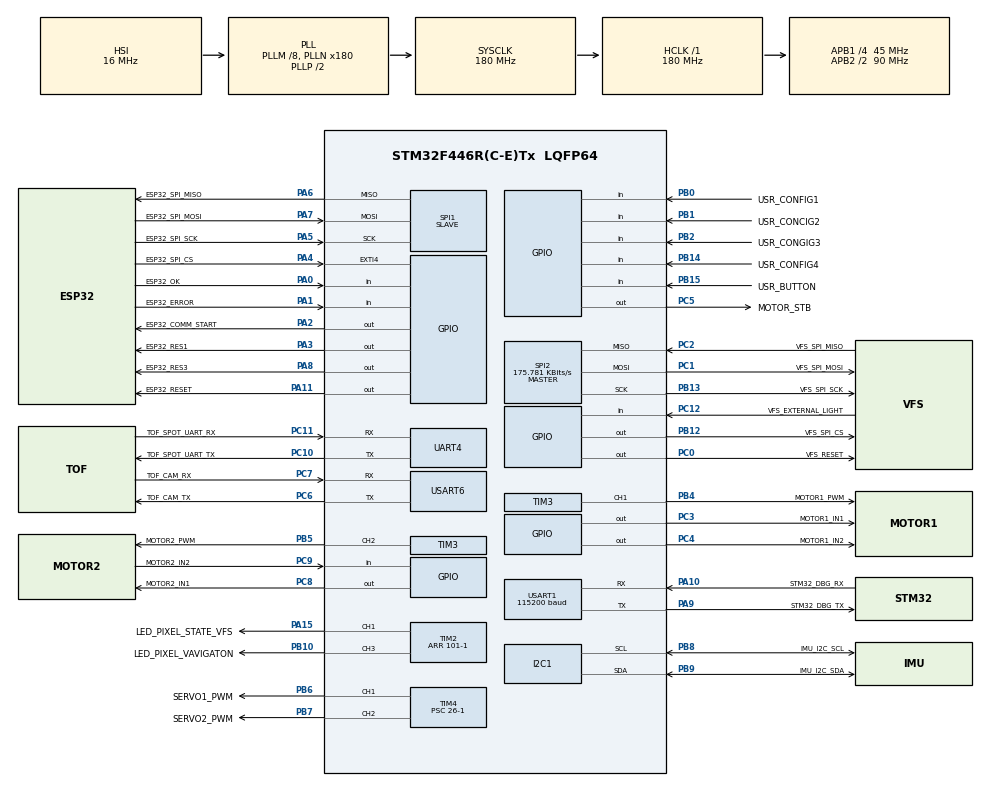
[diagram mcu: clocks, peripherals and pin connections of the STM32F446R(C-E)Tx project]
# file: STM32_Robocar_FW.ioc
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Dma.Request0=SPI1_RX
Dma.Request1=SPI1_TX
Dma.Request2=TIM2_CH1
Dma.Request3=TIM2_UP/CH3
Dma.SPI1_RX.0.Direction=DMA_PERIPH_TO_MEMORY
Dma.SPI1_RX.0.FIFOMode=DMA_FIFOMODE_DISABLE
Dma.SPI1_RX.0.Instance=DMA2_Stream0
Dma.SPI1_RX.0.MemDataAlignment=DMA_MDATAALIGN_BYTE
Dma.SPI1_RX.0.MemInc=DMA_MINC_ENABLE
Dma.SPI1_RX.0.Mode=DMA_CIRCULAR
Dma.SPI1_RX.0.PeriphDataAlignment=DMA_PDATAALIGN_BYTE
Dma.SPI1_RX.0.PeriphInc=DMA_PINC_DISABLE
Dma.SPI1_RX.0.Priority=DMA_PRIORITY_MEDIUM
Dma.SPI1_TX.1.Direction=DMA_MEMORY_TO_PERIPH
Dma.SPI1_TX.1.FIFOMode=DMA_FIFOMODE_DISABLE
Dma.SPI1_TX.1.Instance=DMA2_Stream5
Dma.SPI1_TX.1.MemDataAlignment=DMA_MDATAALIGN_BYTE
Dma.SPI1_TX.1.MemInc=DMA_MINC_ENABLE
Dma.SPI1_TX.1.Mode=DMA_NORMAL
Dma.SPI1_TX.1.PeriphDataAlignment=DMA_PDATAALIGN_BYTE
Dma.SPI1_TX.1.PeriphInc=DMA_PINC_DISABLE
Dma.SPI1_TX.1.Priority=DMA_PRIORITY_MEDIUM
Dma.TIM2_CH1.2.Direction=DMA_MEMORY_TO_PERIPH
Dma.TIM2_CH1.2.FIFOMode=DMA_FIFOMODE_DISABLE
Dma.TIM2_CH1.2.Instance=DMA1_Stream5
Dma.TIM2_CH1.2.MemDataAlignment=DMA_MDATAALIGN_WORD
Dma.TIM2_CH1.2.MemInc=DMA_MINC_ENABLE
Dma.TIM2_CH1.2.Mode=DMA_NORMAL
Dma.TIM2_CH1.2.PeriphDataAlignment=DMA_PDATAALIGN_WORD
Dma.TIM2_CH1.2.PeriphInc=DMA_PINC_DISABLE
Dma.TIM2_CH1.2.Priority=DMA_PRIORITY_LOW
Dma.TIM2_UP/CH3.3.Direction=DMA_MEMORY_TO_PERIPH
Dma.TIM2_UP/CH3.3.FIFOMode=DMA_FIFOMODE_DISABLE
Dma.TIM2_UP/CH3.3.Instance=DMA1_Stream1
Dma.TIM2_UP/CH3.3.MemDataAlignment=DMA_MDATAALIGN_WORD
Dma.TIM2_UP/CH3.3.MemInc=DMA_MINC_ENABLE
Dma.TIM2_UP/CH3.3.Mode=DMA_NORMAL
Dma.TIM2_UP/CH3.3.PeriphDataAlignment=DMA_PDATAALIGN_WORD
Dma.TIM2_UP/CH3.3.PeriphInc=DMA_PINC_DISABLE
Dma.TIM2_UP/CH3.3.Priority=DMA_PRIORITY_LOW
I2C1.I2C_Mode=I2C_Fast
Mcu.Family=STM32F4
Mcu.Name=STM32F446R(C-E)Tx
Mcu.Package=LQFP64
NVIC.DMA1_Stream1_IRQn=true\:0\:0\:false\:false\:true\:false\:true\:true
NVIC.DMA1_Stream5_IRQn=true\:0\:0\:false\:false\:true\:false\:true\:true
NVIC.DMA2_Stream0_IRQn=true\:0\:0\:false\:false\:true\:false\:true\:true
NVIC.DMA2_Stream5_IRQn=true\:0\:0\:false\:false\:true\:false\:true\:true
NVIC.EXTI4_IRQn=true\:0\:0\:false\:false\:true\:true\:true\:false
NVIC.PriorityGroup=NVIC_PRIORITYGROUP_4
NVIC.SPI1_IRQn=true\:0\:0\:false\:false\:true\:true\:true\:true
PA0-WKUP.GPIO_Label=ESP32_OK
PA0-WKUP.GPIO_PuPd=GPIO_PULLDOWN
PA0-WKUP.Signal=GPIO_Input
PA1.GPIO_Label=ESP32_ERROR
PA1.GPIO_PuPd=GPIO_PULLDOWN
PA1.Signal=GPIO_Input
PA10.GPIO_Label=STM32_DBG_RX
PA10.Mode=Asynchronous
PA10.Signal=USART1_RX
PA11.GPIO_Label=ESP32_RESET
PA11.GPIO_ModeDefaultOutputPP=GPIO_MODE_OUTPUT_OD
PA11.GPIO_PuPd=GPIO_PULLUP
PA11.Signal=GPIO_Output
PA13.GPIO_Label=STM32_DBG_SWDIO
PA13.Mode=Serial_Wire
PA13.Signal=SYS_JTMS-SWDIO
PA14.GPIO_Label=STM32_DBG_SWCLK
PA14.Mode=Serial_Wire
PA14.Signal=SYS_JTCK-SWCLK
PA15.GPIO_Label=LED_PIXEL_STATE_VFS
PA15.GPIO_Speed=GPIO_SPEED_FREQ_VERY_HIGH
PA15.Signal=S_TIM2_CH1_ETR
PA2.GPIO_Label=ESP32_COMM_START
PA2.GPIO_PuPd=GPIO_PULLDOWN
PA2.Signal=GPIO_Output
PA3.GPIO_Label=ESP32_RES1
PA3.GPIO_PuPd=GPIO_PULLDOWN
PA3.Signal=GPIO_Output
PA4.GPIO_Label=ESP32_SPI_CS
PA4.GPIO_ModeDefaultEXTI=GPIO_MODE_IT_RISING
PA4.GPIO_PuPd=GPIO_PULLUP
PA4.Signal=GPXTI4
PA5.GPIO_Label=ESP32_SPI_SCK
PA5.Mode=Full_Duplex_Slave
PA5.Signal=SPI1_SCK
PA6.GPIO_Label=ESP32_SPI_MISO
PA6.Mode=Full_Duplex_Slave
PA6.Signal=SPI1_MISO
PA7.GPIO_Label=ESP32_SPI_MOSI
PA7.Mode=Full_Duplex_Slave
PA7.Signal=SPI1_MOSI
PA8.GPIO_Label=ESP32_RES3
PA8.Signal=GPIO_Output
PA9.GPIO_Label=STM32_DBG_TX
PA9.Mode=Asynchronous
PA9.Signal=USART1_TX
PB0.GPIO_Label=USR_CONFIG1
PB0.Signal=GPIO_Input
PB1.GPIO_Label=USR_CONCIG2
PB1.Signal=GPIO_Input
PB10.GPIO_Label=LED_PIXEL_VAVIGATON
PB10.GPIO_Speed=GPIO_SPEED_FREQ_VERY_HIGH
PB10.Signal=S_TIM2_CH3
PB12.GPIO_Label=VFS_SPI_CS
PB12.GPIO_ModeDefaultOutputPP=GPIO_MODE_OUTPUT_OD
PB12.GPIO_PuPd=GPIO_PULLUP
PB12.GPIO_Speed=GPIO_SPEED_FREQ_VERY_HIGH
PB12.PinState=GPIO_PIN_SET
PB12.Signal=GPIO_Output
PB13.GPIO_Label=VFS_SPI_SCK
PB13.Mode=Full_Duplex_Master
PB13.Signal=SPI2_SCK
PB14.GPIO_Label=USR_CONFIG4
PB14.GPIO_PuPd=GPIO_PULLUP
PB14.Signal=GPIO_Input
PB15.GPIO_Label=USR_BUTTON
PB15.GPIO_PuPd=GPIO_PULLUP
PB15.Signal=GPIO_Input
PB2.GPIO_Label=USR_CONGIG3
PB2.Signal=GPIO_Input
PB4.GPIO_Label=MOTOR1_PWM
PB4.GPIO_Speed=GPIO_SPEED_FREQ_VERY_HIGH
PB4.Signal=S_TIM3_CH1
PB5.GPIO_Label=MOTOR2_PWM
PB5.Signal=S_TIM3_CH2
PB6.GPIO_Label=SERVO1_PWM
PB6.GPIO_Speed=GPIO_SPEED_FREQ_VERY_HIGH
PB6.Signal=S_TIM4_CH1
PB7.GPIO_Label=SERVO2_PWM
PB7.GPIO_Speed=GPIO_SPEED_FREQ_VERY_HIGH
PB7.Signal=S_TIM4_CH2
PB8.GPIO_Label=IMU_I2C_SCL
PB8.Mode=I2C
PB8.Signal=I2C1_SCL
PB9.GPIO_Label=IMU_I2C_SDA
PB9.Mode=I2C
PB9.Signal=I2C1_SDA
PC0.GPIO_Label=VFS_RESET
PC0.GPIO_ModeDefaultOutputPP=GPIO_MODE_OUTPUT_OD
PC0.GPIO_PuPd=GPIO_PULLUP
PC0.GPIO_Speed=GPIO_SPEED_FREQ_LOW
PC0.PinState=GPIO_PIN_SET
PC0.Signal=GPIO_Output
PC1.GPIO_Label=VFS_SPI_MOSI
PC1.Mode=Full_Duplex_Master
PC1.Signal=SPI2_MOSI
PC10.GPIO_Label=TOF_SPOT_UART_TX
PC10.Mode=Asynchronous
PC10.Signal=UART4_TX
PC11.GPIO_Label=TOF_SPOT_UART_RX
PC11.Mode=Asynchronous
PC11.Signal=UART4_RX
PC12.GPIO_Label=VFS_EXTERNAL_LIGHT
PC12.Signal=GPIO_Input
PC2.GPIO_Label=VFS_SPI_MISO
PC2.Mode=Full_Duplex_Master
PC2.Signal=SPI2_MISO
PC3.GPIO_Label=MOTOR1_IN1
PC3.Signal=GPIO_Output
PC4.GPIO_Label=MOTOR1_IN2
PC4.Signal=GPIO_Output
PC5.GPIO_Label=MOTOR_STB
PC5.GPIO_Speed=GPIO_SPEED_FREQ_HIGH
PC5.Signal=GPIO_Output
PC6.GPIO_Label=TOF_CAM_TX
PC6.Mode=Asynchronous
PC6.Signal=USART6_TX
PC7.GPIO_Label=TOF_CAM_RX
PC7.Mode=Asynchronous
PC7.Signal=USART6_RX
PC8.GPIO_Label=MOTOR2_IN1
PC8.Signal=GPIO_Output
PC9.GPIO_Label=MOTOR2_IN2
PC9.Signal=GPIO_Input
ProjectManager.HeapSize=0x200
ProjectManager.StackSize=0x400
ProjectManager.TargetToolchain=STM32CubeIDE
RCC.AHBFreq_Value=180000000
RCC.APB1CLKDivider=RCC_HCLK_DIV4
RCC.APB1Freq_Value=45000000
RCC.APB1TimFreq_Value=90000000
RCC.APB2CLKDivider=RCC_HCLK_DIV2
RCC.APB2Freq_Value=90000000
RCC.APB2TimFreq_Value=180000000
RCC.CortexFreq_Value=180000000
RCC.HCLKFreq_Value=180000000
RCC.PLLM=8
RCC.PLLN=180
RCC.SYSCLKFreq_VALUE=180000000
RCC.SYSCLKSource=RCC_SYSCLKSOURCE_PLLCLK
RCC.USBFreq_Value=180000000
RCC.VCOOutputFreq_Value=360000000
SH.S_TIM2_CH1_ETR.0=TIM2_CH1,PWM Generation1 CH1
SH.S_TIM2_CH3.0=TIM2_CH3,PWM Generation3 CH3
SH.S_TIM3_CH1.0=TIM3_CH1,PWM Generation1 CH1
SH.S_TIM3_CH2.0=TIM3_CH2,PWM Generation2 CH2
SH.S_TIM4_CH1.0=TIM4_CH1,PWM Generation1 CH1
SH.S_TIM4_CH2.0=TIM4_CH2,PWM Generation2 CH2
SPI1.Direction=SPI_DIRECTION_2LINES
SPI1.Mode=SPI_MODE_SLAVE
SPI1.VirtualType=VM_SLAVE
SPI2.BaudRatePrescaler=SPI_BAUDRATEPRESCALER_256
SPI2.CLKPhase=SPI_PHASE_2EDGE
SPI2.CLKPolarity=SPI_POLARITY_HIGH
SPI2.CalculateBaudRate=175.781 KBits/s
SPI2.Direction=SPI_DIRECTION_2LINES
SPI2.Mode=SPI_MODE_MASTER
SPI2.VirtualType=VM_MASTER
TIM10.Prescaler=90-1
TIM11.Prescaler=90-1
TIM12.Prescaler=90-1
TIM2.Channel-PWM\ Generation1\ CH1=TIM_CHANNEL_1
TIM2.Channel-PWM\ Generation3\ CH3=TIM_CHANNEL_3
TIM2.Period=101-1
TIM3.Channel-PWM\ Generation1\ CH1=TIM_CHANNEL_1
TIM3.Channel-PWM\ Generation2\ CH2=TIM_CHANNEL_2
TIM3.Period=65535
TIM3.Prescaler=0
TIM4.Channel-PWM\ Generation1\ CH1=TIM_CHANNEL_1
TIM4.Channel-PWM\ Generation2\ CH2=TIM_CHANNEL_2
TIM4.Period=65000-1
TIM4.Prescaler=26-1
UART4.VirtualMode=Asynchronous
USART1.BaudRate=115200
USART1.Mode=MODE_TX
USART1.VirtualMode=VM_ASYNC
USART6.VirtualMode=VM_ASYNC
VP_TIM10_VS_ClockSourceINT.Mode=Enable_Timer
VP_TIM11_VS_ClockSourceINT.Mode=Enable_Timer
VP_TIM12_VS_ClockSourceINT.Mode=Internal
VP_TIM2_VS_ClockSourceINT.Mode=Internal
VP_TIM3_VS_ClockSourceINT.Mode=Internal
VP_TIM4_VS_ClockSourceINT.Mode=Internal
board=custom

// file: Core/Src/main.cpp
/* USER CODE BEGIN Header */
/**
  ******************************************************************************
  * @file           : main.c
  * @brief          : Main program body
  ******************************************************************************
  * @attention
  *
  * Copyright (c) 2023 STMicroelectronics.
  * All rights reserved.
  *
  * This software is licensed under terms that can be found in the LICENSE file
  * in the root directory of this software component.
  * If no LICENSE file comes with this software, it is provided AS-IS.
  *
  ******************************************************************************
  */
/* USER CODE END Header */
#include "main.h"

/* USER CODE BEGIN Includes */
#include <iostream>

#include "types/types.h"
#include "parameter_handler/parameter_handler.h"
#include "mpu60X0/mpu60X0.h"
#include "TFLC02/TFLC02.h"
#include "ADNS3080/ADNS3080.h"
#include "A010/A010.h"
#include "comms/comms.h"
#include "NeoPixel/NeoPixel.h"
#include "Servo/Servo.h"
#include "TB6612FNG/TB6612FNG.h"
#include "SpeedController/SpeedController.h"
#include "Odometry/Odometry.h"
/* USER CODE END Includes */

I2C_HandleTypeDef hi2c1;

SPI_HandleTypeDef hspi1;
SPI_HandleTypeDef hspi2;
DMA_HandleTypeDef hdma_spi1_rx;
DMA_HandleTypeDef hdma_spi1_tx;

TIM_HandleTypeDef htim2;
TIM_HandleTypeDef htim3;
TIM_HandleTypeDef htim4;
TIM_HandleTypeDef htim10;
TIM_HandleTypeDef htim11;
TIM_HandleTypeDef htim12;
DMA_HandleTypeDef hdma_tim2_ch1;
DMA_HandleTypeDef hdma_tim2_up_ch3;

UART_HandleTypeDef huart4;
UART_HandleTypeDef huart1;
UART_HandleTypeDef huart6;

/* USER CODE BEGIN PV */
robocar_data_t data;

ParameterHandler parameter_handler{data.parameter};
Odometry odometry{htim11, data.sensor, data.data, data.parameter};

TFLC02::TFLC02 tof_spot{huart4, data.state.tof_spot};
MPU60X0 imu{hi2c1, data.parameter.imu, data.state.imu, &data.data.imu};
ADNS3080 vfs{hspi2, data.parameter.vfs};
A010 tof_cam{huart6};

Comms::CommsSlave slave{&hspi1, &data};

NeoPixel::Controller npxc_state_vfs_light{{&htim2, TIM_CHANNEL_1}, NeoPixel::Controller::WS2812, 9};
NeoPixel::Group state_led{&npxc_state_vfs_light, 0, 1};
NeoPixel::Group vfs_light{&npxc_state_vfs_light, 1, 9};

Servo servo{htim4, TIM_CHANNEL_1, data.parameter.servo};
Servo servo_res{htim4, TIM_CHANNEL_2, data.parameter.servo};
TB6612FNG motor{MOTOR_STB_GPIO_Port, MOTOR_STB_Pin,
                MOTOR1_IN1_GPIO_Port, MOTOR1_IN1_Pin,
                MOTOR1_IN2_GPIO_Port, MOTOR1_IN2_Pin,
                MOTOR2_IN1_GPIO_Port, MOTOR2_IN1_Pin,
                MOTOR2_IN2_GPIO_Port, MOTOR2_IN2_Pin,
                &htim3, TIM_CHANNEL_1, &htim3, TIM_CHANNEL_2};
SpeedController speed_controller{htim12, motor, data.data};
/* USER CODE END PV */

void SystemClock_Config(void);
static void MX_GPIO_Init(void);
static void MX_DMA_Init(void);
static void MX_USART1_UART_Init(void);
static void MX_SPI1_Init(void);
static void MX_TIM2_Init(void);
static void MX_TIM3_Init(void);
static void MX_TIM4_Init(void);
static void MX_UART4_Init(void);
static void MX_I2C1_Init(void);
static void MX_SPI2_Init(void);
static void MX_USART6_UART_Init(void);
static void MX_TIM10_Init(void);
static void MX_TIM11_Init(void);
static void MX_TIM12_Init(void);

/* USER CODE BEGIN 0 */
extern "C" {
#ifdef __GNUC__
#define PUTCHAR_PROTOTYPE int __io_putchar(int ch)
#else
#define PUTCHAR_PROTOTYPE int fputc(int ch, FILE *f)
#endif
}
/* USER CODE END 0 */

int main(void)
{

  /* MCU Configuration--------------------------------------------------------*/

  /* Reset of all peripherals, Initializes the Flash interface and the Systick. */
  HAL_Init();

  /* Configure the system clock */
  SystemClock_Config();

  /* Initialize all configured peripherals */
  MX_GPIO_Init();
  MX_DMA_Init();
  MX_USART1_UART_Init();
  MX_SPI1_Init();
  MX_TIM2_Init();
  MX_TIM3_Init();
  MX_TIM4_Init();
  MX_UART4_Init();
  MX_I2C1_Init();
  MX_SPI2_Init();
  MX_USART6_UART_Init();
  MX_TIM10_Init();
  MX_TIM11_Init();
  MX_TIM12_Init();
  /* USER CODE BEGIN 2 */
  std::cout << "Device is initialising..." << std::endl;
  state_led.set_brightness(5);
  state_led.set_color(0, 0, 255);
  npxc_state_vfs_light.update();

#pragma region SOFTWARE INITIALISATION
  // TODO: This function should ony be called once to write te correct _parameter values into the flash storage
  parameter_handler.InitParameter();
  /*
  if (parameter_handler.SetParameter() != SUCCESS) {
    std::cout << "Could not initialise parameters on flash memory!" << std::endl;
    Error_Handler();
  } else {
    std::cout << "Initialised parameters on flash memory!" << std::endl;
  }

  if (parameter_handler.GetParameter() != SUCCESS) {
    std::cout << "Could not read parameter_handler from flash memory!" << std::endl;
    Error_Handler();
  }
  std::cout << "Successfully got all parameters from flash memory" << std::endl;
  */
#pragma region SOFTWARE INITIALISATION

#pragma region HARDWARE INITIALISATION
  HAL_TIM_Base_Start(&htim10);
  HAL_TIM_Base_Start(&htim11);
  HAL_TIM_Base_Start(&htim12);
  tof_spot.init();
  //tof_cam.init();
  if (vfs.init() != SUCCESS) Error_Handler();
  if (imu.init(3) != SUCCESS) Error_Handler();

  // Reset ESP32
  HAL_Delay(100);
  HAL_GPIO_WritePin(ESP32_RESET_GPIO_Port, ESP32_RESET_Pin, GPIO_PIN_SET);
  HAL_Delay(10);
  HAL_GPIO_WritePin(ESP32_RESET_GPIO_Port, ESP32_RESET_Pin, GPIO_PIN_RESET);
#pragma endregion HARDWARE INITIALISATION
  servo.move(0);

  state_led.set_color(0, 255, 0);

  vfs_light.set_brightness(data.parameter.vfs.light_color.alpha);
  vfs_light.set_color(data.parameter.vfs.light_color.red,
                      data.parameter.vfs.light_color.green,
                      data.parameter.vfs.light_color.blue);
  npxc_state_vfs_light.update();
  /* USER CODE END 2 */

  /* Infinite loop */
  /* USER CODE BEGIN WHILE */
  std::cout << "Entering main loop..." << std::endl;

  // Kick of the DMA to receive a request from the ESP32 slave
  HAL_SPI_Receive_DMA(&hspi1, slave.rx_packet_dma.buffer, sizeof(Comms::Comms::comms_packet_t));
  HAL_GPIO_WritePin(ESP32_COMM_START_GPIO_Port, ESP32_COMM_START_Pin, GPIO_PIN_SET);

#pragma clang diagnostic push
#pragma ide diagnostic ignored "EndlessLoop"
  while (true) {
    /* USER CODE END WHILE */

    /* USER CODE BEGIN 3 */
#pragma region REQUESTS
    // Check if new parameters need to be saved
    if (data.request.safe_parameter) {
      /*
      if (parameter_handler.SetParameter() != SUCCESS)
        std::cout << "Could not override the parameters on the flash memory!" << std::endl;
      else
        std::cout << "Successfully overwritten all parameters on the flash memory" << std::endl;
        */
      vfs_light.set_brightness(data.parameter.vfs.light_color.alpha);
      vfs_light.set_color(data.parameter.vfs.light_color.red,
                          data.parameter.vfs.light_color.green,
                          data.parameter.vfs.light_color.blue);
      npxc_state_vfs_light.update();
    }

    if (data.request.reset_odomety)
      odometry.reset();

    if (data.request.calibrate_imu)
      imu.CalibrateGyro();

#pragma endregion REQUESTS

#pragma region SENSOR READING
    imu.GetValues(data.sensor.imu);
    tof_spot.get_distance(data.sensor.tof_spot);
    vfs.motionBurst(&data.sensor.vfs);
    //tof_cam.get_frame(data.sensor.tof_cam);
#pragma endregion SENSOR READING

#pragma region DATA GENERATIOM
    odometry.update();
#pragma endregion DATA GENERATION

#pragma region ROBOCAR STATE
    switch (data.state.robocar) {
      case State::Robocar::INITIALISING:
        motor.enable();

        // Automatic state transition
        data.state.robocar = State::Robocar::RUNNING;
        break;

      case State::Robocar::RUNNING:
#pragma region STATEMACHINE OPERATINGMODE
        switch (data.request.operating_mode) {
          case Request::OperatingMode::MANUAL:
            servo.move(data.request.controls.steering);
            motor.ch_a.move(data.request.controls.throttle);
            //motor.ch_a.move(data.request.controls.throttle);
            break;

          case Request::OperatingMode::ASSISTED:
            if (data.data.position.y > 0)
              servo.move(500);
            else if (data.data.position.y < 0)
              servo.move(-500);
            else
              servo.move(0);

            motor.ch_a.move(data.request.controls.throttle);

            break;

          case Request::OperatingMode::DISTANCE:
            servo.move(data.request.controls.steering);
            if (data.data.distance_positioning_error <= data.parameter.operating_modes.distance.positioning_error_boundaries and
                data.data.distance_positioning_error >= -data.parameter.operating_modes.distance.positioning_error_boundaries)
              motor.ch_a.brake();
            else if (odometry.distance_to_target() > data.parameter.operating_modes.distance.threshold_fine_positioning)
              motor.ch_a.move(20);
            else
              if (data.data.distance_positioning_error > 0)
                motor.ch_a.move(10);
              else
                motor.ch_a.move(-10);
            break;

          case Request::OperatingMode::AUTONOMOUS:
            break;
        }
#pragma endregion STATEMACHINE OPERATINGMODE

        // State transition based on EMS signal
        if (data.request.emergency_stop)
          data.state.robocar = State::Robocar::EMS;
        break;

      case State::Robocar::EMS:
        motor.disable();

        // State transition based on EMS reset signal
        if (not data.request.emergency_stop)
          data.state.robocar = State::Robocar::INITIALISING;
        break;
    }
#pragma endregion ROBOCAR STATE

  //speed_controller.update();
  }
#pragma clang diagnostic pop
  /* USER CODE END 3 */
}

void SystemClock_Config(void)
{
  RCC_OscInitTypeDef RCC_OscInitStruct = {0};
  RCC_ClkInitTypeDef RCC_ClkInitStruct = {0};

  /** Configure the main internal regulator output voltage
  */
  __HAL_RCC_PWR_CLK_ENABLE();
  __HAL_PWR_VOLTAGESCALING_CONFIG(PWR_REGULATOR_VOLTAGE_SCALE1);

  /** Initializes the RCC Oscillators according to the specified parameters
  * in the RCC_OscInitTypeDef structure.
  */
  RCC_OscInitStruct.OscillatorType = RCC_OSCILLATORTYPE_HSI;
  RCC_OscInitStruct.HSIState = RCC_HSI_ON;
  RCC_OscInitStruct.HSICalibrationValue = RCC_HSICALIBRATION_DEFAULT;
  RCC_OscInitStruct.PLL.PLLState = RCC_PLL_ON;
  RCC_OscInitStruct.PLL.PLLSource = RCC_PLLSOURCE_HSI;
  RCC_OscInitStruct.PLL.PLLM = 8;
  RCC_OscInitStruct.PLL.PLLN = 180;
  RCC_OscInitStruct.PLL.PLLP = RCC_PLLP_DIV2;
  RCC_OscInitStruct.PLL.PLLQ = 2;
  RCC_OscInitStruct.PLL.PLLR = 2;
  if (HAL_RCC_OscConfig(&RCC_OscInitStruct) != HAL_OK)
  {
    Error_Handler();
  }

  /** Activate the Over-Drive mode
  */
  if (HAL_PWREx_EnableOverDrive() != HAL_OK)
  {
    Error_Handler();
  }

  /** Initializes the CPU, AHB and APB buses clocks
  */
  RCC_ClkInitStruct.ClockType = RCC_CLOCKTYPE_HCLK|RCC_CLOCKTYPE_SYSCLK
                              |RCC_CLOCKTYPE_PCLK1|RCC_CLOCKTYPE_PCLK2;
  RCC_ClkInitStruct.SYSCLKSource = RCC_SYSCLKSOURCE_PLLCLK;
  RCC_ClkInitStruct.AHBCLKDivider = RCC_SYSCLK_DIV1;
  RCC_ClkInitStruct.APB1CLKDivider = RCC_HCLK_DIV4;
  RCC_ClkInitStruct.APB2CLKDivider = RCC_HCLK_DIV2;

  if (HAL_RCC_ClockConfig(&RCC_ClkInitStruct, FLASH_LATENCY_5) != HAL_OK)
  {
    Error_Handler();
  }
}

static void MX_I2C1_Init(void)
{

  hi2c1.Instance = I2C1;
  hi2c1.Init.ClockSpeed = 400000;
  hi2c1.Init.DutyCycle = I2C_DUTYCYCLE_2;
  hi2c1.Init.OwnAddress1 = 0;
  hi2c1.Init.AddressingMode = I2C_ADDRESSINGMODE_7BIT;
  hi2c1.Init.DualAddressMode = I2C_DUALADDRESS_DISABLE;
  hi2c1.Init.OwnAddress2 = 0;
  hi2c1.Init.GeneralCallMode = I2C_GENERALCALL_DISABLE;
  hi2c1.Init.NoStretchMode = I2C_NOSTRETCH_DISABLE;
  if (HAL_I2C_Init(&hi2c1) != HAL_OK)
  {
    Error_Handler();
  }

}

static void MX_SPI1_Init(void)
{

  /* SPI1 parameter configuration*/
  hspi1.Instance = SPI1;
  hspi1.Init.Mode = SPI_MODE_SLAVE;
  hspi1.Init.Direction = SPI_DIRECTION_2LINES;
  hspi1.Init.DataSize = SPI_DATASIZE_8BIT;
  hspi1.Init.CLKPolarity = SPI_POLARITY_LOW;
  hspi1.Init.CLKPhase = SPI_PHASE_1EDGE;
  hspi1.Init.NSS = SPI_NSS_SOFT;
  hspi1.Init.FirstBit = SPI_FIRSTBIT_MSB;
  hspi1.Init.TIMode = SPI_TIMODE_DISABLE;
  hspi1.Init.CRCCalculation = SPI_CRCCALCULATION_DISABLE;
  hspi1.Init.CRCPolynomial = 10;
  if (HAL_SPI_Init(&hspi1) != HAL_OK)
  {
    Error_Handler();
  }

}

static void MX_SPI2_Init(void)
{

  /* SPI2 parameter configuration*/
  hspi2.Instance = SPI2;
  hspi2.Init.Mode = SPI_MODE_MASTER;
  hspi2.Init.Direction = SPI_DIRECTION_2LINES;
  hspi2.Init.DataSize = SPI_DATASIZE_8BIT;
  hspi2.Init.CLKPolarity = SPI_POLARITY_HIGH;
  hspi2.Init.CLKPhase = SPI_PHASE_2EDGE;
  hspi2.Init.NSS = SPI_NSS_SOFT;
  hspi2.Init.BaudRatePrescaler = SPI_BAUDRATEPRESCALER_256;
  hspi2.Init.FirstBit = SPI_FIRSTBIT_MSB;
  hspi2.Init.TIMode = SPI_TIMODE_DISABLE;
  hspi2.Init.CRCCalculation = SPI_CRCCALCULATION_DISABLE;
  hspi2.Init.CRCPolynomial = 10;
  if (HAL_SPI_Init(&hspi2) != HAL_OK)
  {
    Error_Handler();
  }

}

static void MX_TIM2_Init(void)
{

  TIM_ClockConfigTypeDef sClockSourceConfig = {0};
  TIM_MasterConfigTypeDef sMasterConfig = {0};
  TIM_OC_InitTypeDef sConfigOC = {0};

  htim2.Instance = TIM2;
  htim2.Init.Prescaler = 0;
  htim2.Init.CounterMode = TIM_COUNTERMODE_UP;
  htim2.Init.Period = 101-1;
  htim2.Init.ClockDivision = TIM_CLOCKDIVISION_DIV1;
  htim2.Init.AutoReloadPreload = TIM_AUTORELOAD_PRELOAD_DISABLE;
  if (HAL_TIM_Base_Init(&htim2) != HAL_OK)
  {
    Error_Handler();
  }
  sClockSourceConfig.ClockSource = TIM_CLOCKSOURCE_INTERNAL;
  if (HAL_TIM_ConfigClockSource(&htim2, &sClockSourceConfig) != HAL_OK)
  {
    Error_Handler();
  }
  if (HAL_TIM_PWM_Init(&htim2) != HAL_OK)
  {
    Error_Handler();
  }
  sMasterConfig.MasterOutputTrigger = TIM_TRGO_RESET;
  sMasterConfig.MasterSlaveMode = TIM_MASTERSLAVEMODE_DISABLE;
  if (HAL_TIMEx_MasterConfigSynchronization(&htim2, &sMasterConfig) != HAL_OK)
  {
    Error_Handler();
  }
  sConfigOC.OCMode = TIM_OCMODE_PWM1;
  sConfigOC.Pulse = 0;
  sConfigOC.OCPolarity = TIM_OCPOLARITY_HIGH;
  sConfigOC.OCFastMode = TIM_OCFAST_DISABLE;
  if (HAL_TIM_PWM_ConfigChannel(&htim2, &sConfigOC, TIM_CHANNEL_1) != HAL_OK)
  {
    Error_Handler();
  }
  if (HAL_TIM_PWM_ConfigChannel(&htim2, &sConfigOC, TIM_CHANNEL_3) != HAL_OK)
  {
    Error_Handler();
  }
  HAL_TIM_MspPostInit(&htim2);

}

static void MX_TIM3_Init(void)
{

  TIM_ClockConfigTypeDef sClockSourceConfig = {0};
  TIM_MasterConfigTypeDef sMasterConfig = {0};
  TIM_OC_InitTypeDef sConfigOC = {0};

  htim3.Instance = TIM3;
  htim3.Init.Prescaler = 0;
  htim3.Init.CounterMode = TIM_COUNTERMODE_UP;
  htim3.Init.Period = 65535;
  htim3.Init.ClockDivision = TIM_CLOCKDIVISION_DIV1;
  htim3.Init.AutoReloadPreload = TIM_AUTORELOAD_PRELOAD_DISABLE;
  if (HAL_TIM_Base_Init(&htim3) != HAL_OK)
  {
    Error_Handler();
  }
  sClockSourceConfig.ClockSource = TIM_CLOCKSOURCE_INTERNAL;
  if (HAL_TIM_ConfigClockSource(&htim3, &sClockSourceConfig) != HAL_OK)
  {
    Error_Handler();
  }
  if (HAL_TIM_PWM_Init(&htim3) != HAL_OK)
  {
    Error_Handler();
  }
  sMasterConfig.MasterOutputTrigger = TIM_TRGO_RESET;
  sMasterConfig.MasterSlaveMode = TIM_MASTERSLAVEMODE_DISABLE;
  if (HAL_TIMEx_MasterConfigSynchronization(&htim3, &sMasterConfig) != HAL_OK)
  {
    Error_Handler();
  }
  sConfigOC.OCMode = TIM_OCMODE_PWM1;
  sConfigOC.Pulse = 0;
  sConfigOC.OCPolarity = TIM_OCPOLARITY_HIGH;
  sConfigOC.OCFastMode = TIM_OCFAST_DISABLE;
  if (HAL_TIM_PWM_ConfigChannel(&htim3, &sConfigOC, TIM_CHANNEL_1) != HAL_OK)
  {
    Error_Handler();
  }
  if (HAL_TIM_PWM_ConfigChannel(&htim3, &sConfigOC, TIM_CHANNEL_2) != HAL_OK)
  {
    Error_Handler();
  }
  HAL_TIM_MspPostInit(&htim3);

}

static void MX_TIM4_Init(void)
{

  TIM_ClockConfigTypeDef sClockSourceConfig = {0};
  TIM_MasterConfigTypeDef sMasterConfig = {0};
  TIM_OC_InitTypeDef sConfigOC = {0};

  htim4.Instance = TIM4;
  htim4.Init.Prescaler = 26-1;
  htim4.Init.CounterMode = TIM_COUNTERMODE_UP;
  htim4.Init.Period = 65000-1;
  htim4.Init.ClockDivision = TIM_CLOCKDIVISION_DIV1;
  htim4.Init.AutoReloadPreload = TIM_AUTORELOAD_PRELOAD_DISABLE;
  if (HAL_TIM_Base_Init(&htim4) != HAL_OK)
  {
    Error_Handler();
  }
  sClockSourceConfig.ClockSource = TIM_CLOCKSOURCE_INTERNAL;
  if (HAL_TIM_ConfigClockSource(&htim4, &sClockSourceConfig) != HAL_OK)
  {
    Error_Handler();
  }
  if (HAL_TIM_PWM_Init(&htim4) != HAL_OK)
  {
    Error_Handler();
  }
  sMasterConfig.MasterOutputTrigger = TIM_TRGO_RESET;
  sMasterConfig.MasterSlaveMode = TIM_MASTERSLAVEMODE_DISABLE;
  if (HAL_TIMEx_MasterConfigSynchronization(&htim4, &sMasterConfig) != HAL_OK)
  {
    Error_Handler();
  }
  sConfigOC.OCMode = TIM_OCMODE_PWM1;
  sConfigOC.Pulse = 0;
  sConfigOC.OCPolarity = TIM_OCPOLARITY_HIGH;
  sConfigOC.OCFastMode = TIM_OCFAST_DISABLE;
  if (HAL_TIM_PWM_ConfigChannel(&htim4, &sConfigOC, TIM_CHANNEL_1) != HAL_OK)
  {
    Error_Handler();
  }
  if (HAL_TIM_PWM_ConfigChannel(&htim4, &sConfigOC, TIM_CHANNEL_2) != HAL_OK)
  {
    Error_Handler();
  }
  HAL_TIM_MspPostInit(&htim4);

}

static void MX_TIM10_Init(void)
{

  htim10.Instance = TIM10;
  htim10.Init.Prescaler = 90-1;
  htim10.Init.CounterMode = TIM_COUNTERMODE_UP;
  htim10.Init.Period = 65535;
  htim10.Init.ClockDivision = TIM_CLOCKDIVISION_DIV1;
  htim10.Init.AutoReloadPreload = TIM_AUTORELOAD_PRELOAD_DISABLE;
  if (HAL_TIM_Base_Init(&htim10) != HAL_OK)
  {
    Error_Handler();
  }

}

static void MX_TIM11_Init(void)
{

  htim11.Instance = TIM11;
  htim11.Init.Prescaler = 90-1;
  htim11.Init.CounterMode = TIM_COUNTERMODE_UP;
  htim11.Init.Period = 65535;
  htim11.Init.ClockDivision = TIM_CLOCKDIVISION_DIV1;
  htim11.Init.AutoReloadPreload = TIM_AUTORELOAD_PRELOAD_DISABLE;
  if (HAL_TIM_Base_Init(&htim11) != HAL_OK)
  {
    Error_Handler();
  }

}

static void MX_TIM12_Init(void)
{

  TIM_ClockConfigTypeDef sClockSourceConfig = {0};

  htim12.Instance = TIM12;
  htim12.Init.Prescaler = 90-1;
  htim12.Init.CounterMode = TIM_COUNTERMODE_UP;
  htim12.Init.Period = 65535;
  htim12.Init.ClockDivision = TIM_CLOCKDIVISION_DIV1;
  htim12.Init.AutoReloadPreload = TIM_AUTORELOAD_PRELOAD_DISABLE;
  if (HAL_TIM_Base_Init(&htim12) != HAL_OK)
  {
    Error_Handler();
  }
  sClockSourceConfig.ClockSource = TIM_CLOCKSOURCE_INTERNAL;
  if (HAL_TIM_ConfigClockSource(&htim12, &sClockSourceConfig) != HAL_OK)
  {
    Error_Handler();
  }

}

static void MX_UART4_Init(void)
{

  huart4.Instance = UART4;
  huart4.Init.BaudRate = 115200;
  huart4.Init.WordLength = UART_WORDLENGTH_8B;
  huart4.Init.StopBits = UART_STOPBITS_1;
  huart4.Init.Parity = UART_PARITY_NONE;
  huart4.Init.Mode = UART_MODE_TX_RX;
  huart4.Init.HwFlowCtl = UART_HWCONTROL_NONE;
  huart4.Init.OverSampling = UART_OVERSAMPLING_16;
  if (HAL_UART_Init(&huart4) != HAL_OK)
  {
    Error_Handler();
  }

}

static void MX_USART1_UART_Init(void)
{

  huart1.Instance = USART1;
  huart1.Init.BaudRate = 115200;
  huart1.Init.WordLength = UART_WORDLENGTH_8B;
  huart1.Init.StopBits = UART_STOPBITS_1;
  huart1.Init.Parity = UART_PARITY_NONE;
  huart1.Init.Mode = UART_MODE_TX;
  huart1.Init.HwFlowCtl = UART_HWCONTROL_NONE;
  huart1.Init.OverSampling = UART_OVERSAMPLING_16;
  if (HAL_UART_Init(&huart1) != HAL_OK)
  {
    Error_Handler();
  }

}

static void MX_USART6_UART_Init(void)
{

  huart6.Instance = USART6;
  huart6.Init.BaudRate = 115200;
  huart6.Init.WordLength = UART_WORDLENGTH_8B;
  huart6.Init.StopBits = UART_STOPBITS_1;
  huart6.Init.Parity = UART_PARITY_NONE;
  huart6.Init.Mode = UART_MODE_TX_RX;
  huart6.Init.HwFlowCtl = UART_HWCONTROL_NONE;
  huart6.Init.OverSampling = UART_OVERSAMPLING_16;
  if (HAL_UART_Init(&huart6) != HAL_OK)
  {
    Error_Handler();
  }

}

static void MX_DMA_Init(void)
{

  /* DMA controller clock enable */
  __HAL_RCC_DMA2_CLK_ENABLE();
  __HAL_RCC_DMA1_CLK_ENABLE();

  /* DMA interrupt init */
  /* DMA1_Stream1_IRQn interrupt configuration */
  HAL_NVIC_SetPriority(DMA1_Stream1_IRQn, 0, 0);
  HAL_NVIC_EnableIRQ(DMA1_Stream1_IRQn);
  /* DMA1_Stream5_IRQn interrupt configuration */
  HAL_NVIC_SetPriority(DMA1_Stream5_IRQn, 0, 0);
  HAL_NVIC_EnableIRQ(DMA1_Stream5_IRQn);
  /* DMA2_Stream0_IRQn interrupt configuration */
  HAL_NVIC_SetPriority(DMA2_Stream0_IRQn, 0, 0);
  HAL_NVIC_EnableIRQ(DMA2_Stream0_IRQn);
  /* DMA2_Stream5_IRQn interrupt configuration */
  HAL_NVIC_SetPriority(DMA2_Stream5_IRQn, 0, 0);
  HAL_NVIC_EnableIRQ(DMA2_Stream5_IRQn);

}

static void MX_GPIO_Init(void)
{
  GPIO_InitTypeDef GPIO_InitStruct = {0};

  /* GPIO Ports Clock Enable */
  __HAL_RCC_GPIOC_CLK_ENABLE();
  __HAL_RCC_GPIOA_CLK_ENABLE();
  __HAL_RCC_GPIOB_CLK_ENABLE();

  /*Configure GPIO pin Output Level */
  HAL_GPIO_WritePin(VFS_RESET_GPIO_Port, VFS_RESET_Pin, GPIO_PIN_SET);

  /*Configure GPIO pin Output Level */
  HAL_GPIO_WritePin(GPIOC, MOTOR1_IN1_Pin|MOTOR1_IN2_Pin|MOTOR_STB_Pin|MOTOR2_IN1_Pin, GPIO_PIN_RESET);

  /*Configure GPIO pin Output Level */
  HAL_GPIO_WritePin(GPIOA, ESP32_COMM_START_Pin|ESP32_RES1_Pin|ESP32_RES3_Pin|ESP32_RESET_Pin, GPIO_PIN_RESET);

  /*Configure GPIO pin Output Level */
  HAL_GPIO_WritePin(VFS_SPI_CS_GPIO_Port, VFS_SPI_CS_Pin, GPIO_PIN_SET);

  /*Configure GPIO pin : VFS_RESET_Pin */
  GPIO_InitStruct.Pin = VFS_RESET_Pin;
  GPIO_InitStruct.Mode = GPIO_MODE_OUTPUT_OD;
  GPIO_InitStruct.Pull = GPIO_PULLUP;
  GPIO_InitStruct.Speed = GPIO_SPEED_FREQ_LOW;
  HAL_GPIO_Init(VFS_RESET_GPIO_Port, &GPIO_InitStruct);

  /*Configure GPIO pins : MOTOR1_IN1_Pin MOTOR1_IN2_Pin MOTOR2_IN1_Pin */
  GPIO_InitStruct.Pin = MOTOR1_IN1_Pin|MOTOR1_IN2_Pin|MOTOR2_IN1_Pin;
  GPIO_InitStruct.Mode = GPIO_MODE_OUTPUT_PP;
  GPIO_InitStruct.Pull = GPIO_NOPULL;
  GPIO_InitStruct.Speed = GPIO_SPEED_FREQ_LOW;
  HAL_GPIO_Init(GPIOC, &GPIO_InitStruct);

  /*Configure GPIO pins : ESP32_OK_Pin ESP32_ERROR_Pin */
  GPIO_InitStruct.Pin = ESP32_OK_Pin|ESP32_ERROR_Pin;
  GPIO_InitStruct.Mode = GPIO_MODE_INPUT;
  GPIO_InitStruct.Pull = GPIO_PULLDOWN;
  HAL_GPIO_Init(GPIOA, &GPIO_InitStruct);

  /*Configure GPIO pins : ESP32_COMM_START_Pin ESP32_RES1_Pin */
  GPIO_InitStruct.Pin = ESP32_COMM_START_Pin|ESP32_RES1_Pin;
  GPIO_InitStruct.Mode = GPIO_MODE_OUTPUT_PP;
  GPIO_InitStruct.Pull = GPIO_PULLDOWN;
  GPIO_InitStruct.Speed = GPIO_SPEED_FREQ_LOW;
  HAL_GPIO_Init(GPIOA, &GPIO_InitStruct);

  /*Configure GPIO pin : ESP32_SPI_CS_Pin */
  GPIO_InitStruct.Pin = ESP32_SPI_CS_Pin;
  GPIO_InitStruct.Mode = GPIO_MODE_IT_RISING;
  GPIO_InitStruct.Pull = GPIO_PULLUP;
  HAL_GPIO_Init(ESP32_SPI_CS_GPIO_Port, &GPIO_InitStruct);

  /*Configure GPIO pin : MOTOR_STB_Pin */
  GPIO_InitStruct.Pin = MOTOR_STB_Pin;
  GPIO_InitStruct.Mode = GPIO_MODE_OUTPUT_PP;
  GPIO_InitStruct.Pull = GPIO_NOPULL;
  GPIO_InitStruct.Speed = GPIO_SPEED_FREQ_HIGH;
  HAL_GPIO_Init(MOTOR_STB_GPIO_Port, &GPIO_InitStruct);

  /*Configure GPIO pins : USR_CONFIG1_Pin USR_CONCIG2_Pin USR_CONGIG3_Pin */
  GPIO_InitStruct.Pin = USR_CONFIG1_Pin|USR_CONCIG2_Pin|USR_CONGIG3_Pin;
  GPIO_InitStruct.Mode = GPIO_MODE_INPUT;
  GPIO_InitStruct.Pull = GPIO_NOPULL;
  HAL_GPIO_Init(GPIOB, &GPIO_InitStruct);

  /*Configure GPIO pin : VFS_SPI_CS_Pin */
  GPIO_InitStruct.Pin = VFS_SPI_CS_Pin;
  GPIO_InitStruct.Mode = GPIO_MODE_OUTPUT_OD;
  GPIO_InitStruct.Pull = GPIO_PULLUP;
  GPIO_InitStruct.Speed = GPIO_SPEED_FREQ_VERY_HIGH;
  HAL_GPIO_Init(VFS_SPI_CS_GPIO_Port, &GPIO_InitStruct);

  /*Configure GPIO pins : USR_CONFIG4_Pin USR_BUTTON_Pin */
  GPIO_InitStruct.Pin = USR_CONFIG4_Pin|USR_BUTTON_Pin;
  GPIO_InitStruct.Mode = GPIO_MODE_INPUT;
  GPIO_InitStruct.Pull = GPIO_PULLUP;
  HAL_GPIO_Init(GPIOB, &GPIO_InitStruct);

  /*Configure GPIO pins : MOTOR2_IN2_Pin VFS_EXTERNAL_LIGHT_Pin */
  GPIO_InitStruct.Pin = MOTOR2_IN2_Pin|VFS_EXTERNAL_LIGHT_Pin;
  GPIO_InitStruct.Mode = GPIO_MODE_INPUT;
  GPIO_InitStruct.Pull = GPIO_NOPULL;
  HAL_GPIO_Init(GPIOC, &GPIO_InitStruct);

  /*Configure GPIO pin : ESP32_RES3_Pin */
  GPIO_InitStruct.Pin = ESP32_RES3_Pin;
  GPIO_InitStruct.Mode = GPIO_MODE_OUTPUT_PP;
  GPIO_InitStruct.Pull = GPIO_NOPULL;
  GPIO_InitStruct.Speed = GPIO_SPEED_FREQ_LOW;
  HAL_GPIO_Init(ESP32_RES3_GPIO_Port, &GPIO_InitStruct);

  /*Configure GPIO pin : ESP32_RESET_Pin */
  GPIO_InitStruct.Pin = ESP32_RESET_Pin;
  GPIO_InitStruct.Mode = GPIO_MODE_OUTPUT_OD;
  GPIO_InitStruct.Pull = GPIO_PULLUP;
  GPIO_InitStruct.Speed = GPIO_SPEED_FREQ_LOW;
  HAL_GPIO_Init(ESP32_RESET_GPIO_Port, &GPIO_InitStruct);

  /* EXTI interrupt init*/
  HAL_NVIC_SetPriority(EXTI4_IRQn, 0, 0);

}

/* USER CODE BEGIN 4 */
extern "C" {
PUTCHAR_PROTOTYPE {
HAL_UART_Transmit(&huart1, (uint8_t *)&ch, 1, 0xFFFF);
setbuf(stdout, NULL);
return ch;
}
}

void delay_us (uint16_t us) {
  // set the counter value a 0
  __HAL_TIM_SET_COUNTER(&htim10, 0);
  // wait for the counter to reach the us input in the _parameter
  while (__HAL_TIM_GET_COUNTER(&htim10) < us);
}

void HAL_TIM_PWM_PulseFinishedCallback(TIM_HandleTypeDef *htim) {
  if (htim == &htim2) npxc_state_vfs_light.dma_finished();
}

void HAL_SPI_RxCpltCallback(SPI_HandleTypeDef *hspi) {
  if (hspi == &hspi1) {
    if (slave.exchange() != EXIT_SUCCESS) // packet was invalid
      HAL_SPI_Receive_DMA(hspi, slave.rx_packet_dma.buffer, sizeof(Comms::Comms::comms_packet_t));
    else {
      HAL_SPI_DMAStop(hspi);
      HAL_SPI_Transmit_DMA(hspi, slave.tx_packet_dma.buffer, sizeof(Comms::Comms::comms_packet_t));
    }
  }
}

void HAL_SPI_TxCpltCallback(SPI_HandleTypeDef *hspi) {
  if (hspi == &hspi1) {
    // Resume the DMA so Rx can continue and Tx will happen when req'd by master
    HAL_SPI_Receive_DMA(hspi, slave.rx_packet_dma.buffer, sizeof(Comms::Comms::comms_packet_t));
  }
}
/* USER CODE END 4 */

void Error_Handler(void)
{
  /* USER CODE BEGIN Error_Handler_Debug */
  /* User can add his own implementation to report the HAL error return state */
  std::cout << "Error handler was called" << std::endl;
  state_led.set_color(255,0,0);
  npxc_state_vfs_light.update();
  HAL_GPIO_WritePin(ESP32_COMM_START_GPIO_Port, ESP32_COMM_START_Pin, GPIO_PIN_RESET);
  __disable_irq();
  while (1) {
  }
  /* USER CODE END Error_Handler_Debug */
}
